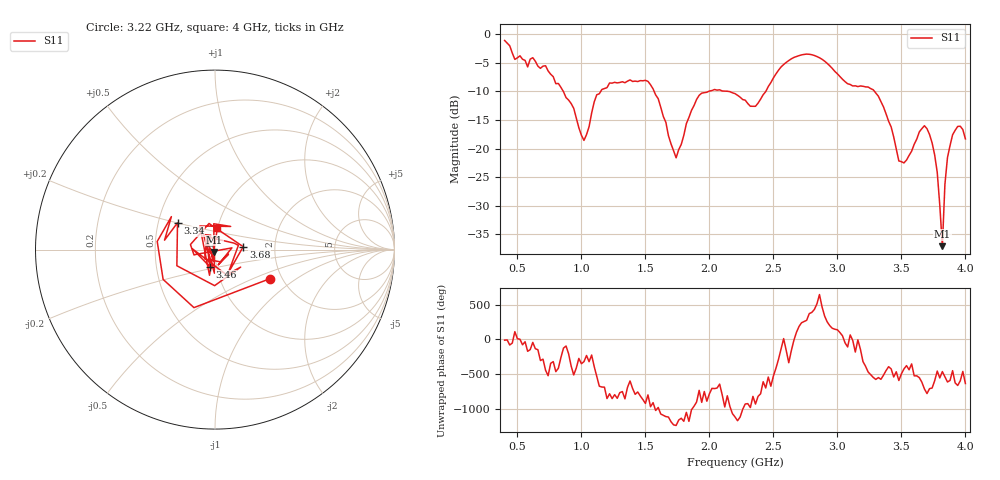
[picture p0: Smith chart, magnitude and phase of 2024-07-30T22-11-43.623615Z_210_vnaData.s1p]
!Created with skrf (http://scikit-rf.org).
# Hz S RI R 50.0
!freq ReS11 ImS11
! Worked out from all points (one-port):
!   181 points, 400 MHz to 4 GHz, reference 50 ohm
!   lowest |S11| = -37.0 dB at 3.82 GHz (marker M1), VSWR 1.03, Z = 49.6 - j1.35 ohm
!   |S11| at or under -10 dB: 1.568 GHz to 1.997 GHz (429.3 MHz wide, 24.1 % of centre); 2.135 GHz to 2.442 GHz (307.1 MHz wide, 13.4 % of centre); 3.289 GHz to end of sweep (the widest 3 of 4)
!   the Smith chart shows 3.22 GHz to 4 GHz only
!   S11 on the Smith chart (normalised r, x): 3.22 GHz: 1.72, -0.64; 3.34 GHz: 0.63, +0.20; 3.46 GHz: 0.93, -0.18; 3.68 GHz: 1.37, +0.05; 4 GHz: 1.00, +0.24
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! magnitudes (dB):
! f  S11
! 400 MHz  -1.1
! 860 MHz  -10.1
! 1.02 GHz  -18.6
! 1.12 GHz  -10.6
! 1.3 GHz  -8.5
! 1.52 GHz  -8.3
! 1.6 GHz  -11.3
! 1.74 GHz  -21.6
! 1.76 GHz  -20.2
! 1.92 GHz  -10.7
! 2.2 GHz  -10.4
! 2.36 GHz  -12.6
! 2.66 GHz  -4.1
! 2.86 GHz  -4.2
! 3.1 GHz  -8.8
! 3.22 GHz  -9.2
! 3.34 GHz  -11.8
! 3.46 GHz  -20.1
! 3.48 GHz  -22.2
! 3.56 GHz  -21.2
! 3.68 GHz  -16.0
! 3.76 GHz  -21.1
! 3.78 GHz  -24.2
! 3.82 GHz  -37.0
! 3.84 GHz  -26.2
! 3.86 GHz  -21.6
! 3.94 GHz  -16.2
! 4 GHz  -18.3
